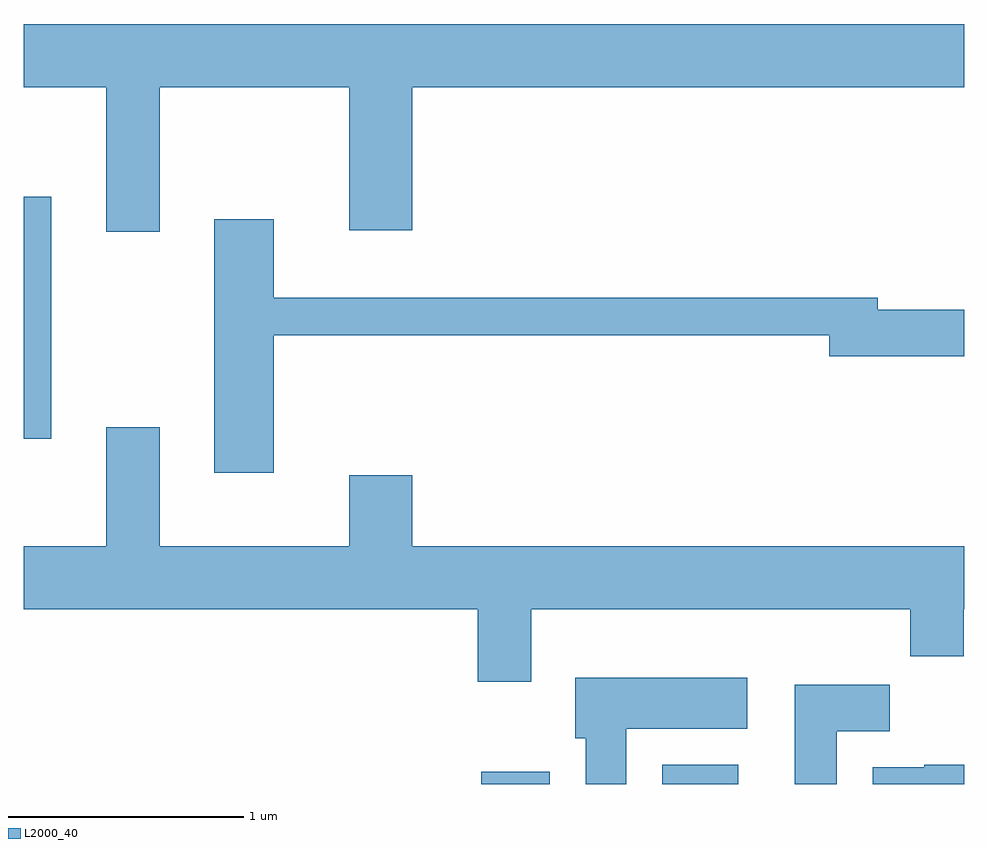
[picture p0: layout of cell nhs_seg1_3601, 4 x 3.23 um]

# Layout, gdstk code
import gdstk
lib = gdstk.Library(unit=1e-6, precision=1e-09)
def R(c, l, rs):  # rectangles x0, y0, x1, y1
    for r in rs: c.add(gdstk.rectangle(r[:2], r[2:], *l))
def P(c, l, *ps):  # polygons
    for p in ps: c.add(gdstk.Polygon(p, *l))
L2000_40 = (2000, 40)

nhs_seg1_3601 = lib.new_cell('nhs_seg1_3601')
R(nhs_seg1_3601, L2000_40, [(295.556,907.712,295.849,907.764), (296.326,907.712,296.649,907.794), (293.611,909.181,293.729,910.209)])
P(nhs_seg1_3601, L2000_40, [(294.189,910.676),(294.996,910.676),(294.996,910.066),(295.264,910.066),(295.264,910.676),(297.611,910.676),(297.611,910.944),(293.611,910.944),(293.611,910.676),(293.961,910.676),(293.961,910.061),(294.189,910.061)],
  [(294.674,909.621),(297.036,909.621),(297.036,909.531),(297.611,909.531),(297.611,909.729),(297.244,909.729),(297.244,909.779),(294.674,909.779),(294.674,910.114),(294.421,910.114),(294.421,909.036),(294.674,909.036)],
  [(295.769,908.456),(297.381,908.456),(297.381,908.256),(297.609,908.256),(297.609,908.456),(297.611,908.456),(297.611,908.724),(295.264,908.724),(295.264,909.024),(294.996,909.024),(294.996,908.724),(294.189,908.724),(294.189,909.229),(293.961,909.229),(293.961,908.724),(293.611,908.724),(293.611,908.456),(295.541,908.456),(295.541,908.146),(295.769,908.146)],
  [(296.174,907.946),(296.689,907.946),(296.689,908.164),(295.956,908.164),(295.956,907.906),(296.001,907.906),(296.001,907.712),(296.174,907.712)],
  [(297.069,907.936),(297.294,907.936),(297.294,908.134),(296.891,908.134),(296.891,907.712),(297.069,907.712)],
  [(297.611,907.794),(297.44,907.794),(297.44,907.784),(297.221,907.784),(297.221,907.712),(297.611,907.712)])

lib.write_gds('nhs_seg1_3601.gds')
